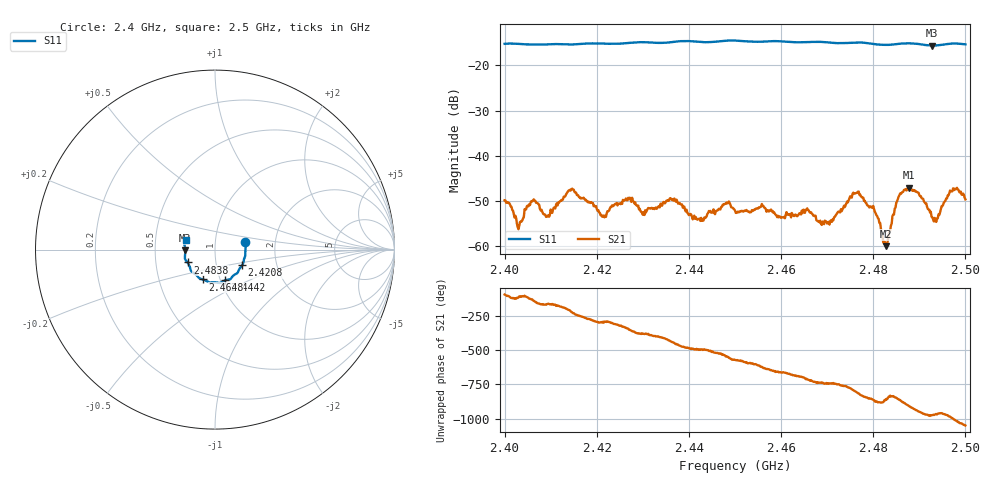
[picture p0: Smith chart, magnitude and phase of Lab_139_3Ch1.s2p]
# Hz S RI R 50
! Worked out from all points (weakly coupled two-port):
!   601 points, 2.4 GHz to 2.5 GHz, reference 50 ohm
!   highest |S21| = -47.03 dB at 2.4877 GHz (marker M1); lowest = -59.9 dB at 2.4828 GHz (marker M2)
!   lowest |S11| = -15.6 dB at 2.4928 GHz (marker M3), VSWR 1.40, Z = 35.8 - j0.344 ohm
!   |S11| at or under -10 dB: start of sweep to end of sweep
!   S12 and S22 are empty: the file has one direction only
!   S11 on the Smith chart (normalised r, x): 2.4 GHz: 1.40, +0.12; 2.4208 GHz: 1.33, -0.24; 2.4442 GHz: 1.05, -0.37; 2.4648 GHz: 0.83, -0.28; 2.4838 GHz: 0.73, -0.11; 2.5 GHz: 0.72, +0.08
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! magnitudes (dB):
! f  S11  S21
! 2.4 GHz  -15.2  -49.8
! 2.4032 GHz  -15.2  -55.5
! 2.4062 GHz  -15.4  -49.8
! 2.4093 GHz  -15.4  -53.4
! 2.4142 GHz  -15.4  -47.5
! 2.4167 GHz  -15.2  -49.3
! 2.4208 GHz  -15.2  -53.1
! 2.4333 GHz  -15.0  -51.2
! 2.4442 GHz  -14.9  -52.6
! 2.45 GHz  -14.5  -52.1
! 2.4648 GHz  -14.9  -51.9
! 2.4667 GHz  -14.8  -52.7
! 2.4705 GHz  -15.0  -55.2
! 2.4767 GHz  -15.0  -47.9
! 2.4828 GHz  -15.5  -59.9
! 2.4833 GHz  -15.5  -57.6
! 2.4838 GHz  -15.4  -55.4
! 2.4855 GHz  -15.2  -49.0
! 2.4877 GHz  -15.1  -47.0
! 2.4928 GHz  -15.6  -53.6
! 2.4972 GHz  -15.2  -47.8
! 2.5 GHz  -15.4  -49.6
